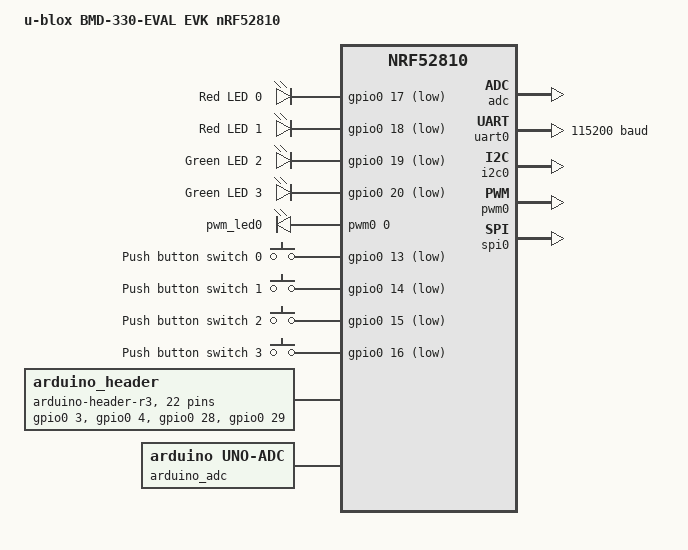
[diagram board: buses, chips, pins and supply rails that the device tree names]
/*
 * Copyright (c) 2021 u-blox AG
 *
 * SPDX-License-Identifier: Apache-2.0
 */

/dts-v1/;
#include <nordic/nrf52810_qfaa.dtsi>
#include "ubx_bmd330eval_nrf52810-pinctrl.dtsi"
#include <zephyr/dt-bindings/gpio/arduino-header-r3.h>
#include <zephyr/dt-bindings/input/input-event-codes.h>

/ {
	model = "u-blox BMD-330-EVAL EVK nRF52810";
	compatible = "u-blox,ubx-bmd330eval-nrf52810";

	chosen {
		zephyr,console = &uart0;
		zephyr,shell-uart = &uart0;
		zephyr,uart-mcumgr = &uart0;
		zephyr,bt-mon-uart = &uart0;
		zephyr,bt-c2h-uart = &uart0;
		zephyr,sram = &sram0;
		zephyr,flash = &flash0;
		zephyr,code-partition = &slot0_partition;
	};

	leds {
		compatible = "gpio-leds";

		led0: led_0 {
			gpios = <&gpio0 17 GPIO_ACTIVE_LOW>;
			label = "Red LED 0";
		};

		led1: led_1 {
			gpios = <&gpio0 18 GPIO_ACTIVE_LOW>;
			label = "Red LED 1";
		};

		led2: led_2 {
			gpios = <&gpio0 19 GPIO_ACTIVE_LOW>;
			label = "Green LED 2";
		};

		led3: led_3 {
			gpios = <&gpio0 20 GPIO_ACTIVE_LOW>;
			label = "Green LED 3";
		};
	};

	pwmleds {
		compatible = "pwm-leds";

		pwm_led0: pwm_led_0 {
			pwms = <&pwm0 0 PWM_MSEC(20) PWM_POLARITY_INVERTED>;
		};
	};

	buttons {
		compatible = "gpio-keys";

		button0: button_0 {
			gpios = <&gpio0 13 (GPIO_PULL_UP | GPIO_ACTIVE_LOW)>;
			label = "Push button switch 0";
			zephyr,code = <INPUT_KEY_0>;
		};

		button1: button_1 {
			gpios = <&gpio0 14 (GPIO_PULL_UP | GPIO_ACTIVE_LOW)>;
			label = "Push button switch 1";
			zephyr,code = <INPUT_KEY_1>;
		};

		button2: button_2 {
			gpios = <&gpio0 15 (GPIO_PULL_UP | GPIO_ACTIVE_LOW)>;
			label = "Push button switch 2";
			zephyr,code = <INPUT_KEY_2>;
		};

		button3: button_3 {
			gpios = <&gpio0 16 (GPIO_PULL_UP | GPIO_ACTIVE_LOW)>;
			label = "Push button switch 3";
			zephyr,code = <INPUT_KEY_3>;
		};
	};

	arduino_header: connector {
		compatible = "arduino-header-r3";
		#gpio-cells = <2>;
		gpio-map-mask = <0xffffffff 0xffffffc0>;
		gpio-map-pass-thru = <0 0x3f>;
		gpio-map = <ARDUINO_HEADER_R3_A0 0 &gpio0 3 0>,
			   <ARDUINO_HEADER_R3_A1 0 &gpio0 4 0>,
			   <ARDUINO_HEADER_R3_A2 0 &gpio0 28 0>,
			   <ARDUINO_HEADER_R3_A3 0 &gpio0 29 0>,
			   <ARDUINO_HEADER_R3_A4 0 &gpio0 30 0>,
			   <ARDUINO_HEADER_R3_A5 0 &gpio0 31 0>,
			   <ARDUINO_HEADER_R3_D0 0 &gpio0 11 0>,
			   <ARDUINO_HEADER_R3_D1 0 &gpio0 12 0>,
			   <ARDUINO_HEADER_R3_D2 0 &gpio0 13 0>,
			   <ARDUINO_HEADER_R3_D3 0 &gpio0 14 0>,
			   <ARDUINO_HEADER_R3_D4 0 &gpio0 15 0>,
			   <ARDUINO_HEADER_R3_D5 0 &gpio0 16 0>,
			   <ARDUINO_HEADER_R3_D6 0 &gpio0 17 0>,
			   <ARDUINO_HEADER_R3_D7 0 &gpio0 18 0>,
			   <ARDUINO_HEADER_R3_D8 0 &gpio0 19 0>,
			   <ARDUINO_HEADER_R3_D9 0 &gpio0 20 0>,
			   <ARDUINO_HEADER_R3_D10 0 &gpio0 22 0>,
			   <ARDUINO_HEADER_R3_D11 0 &gpio0 23 0>,
			   <ARDUINO_HEADER_R3_D12 0 &gpio0 24 0>,
			   <ARDUINO_HEADER_R3_D13 0 &gpio0 25 0>,
			   <ARDUINO_HEADER_R3_D14 0 &gpio0 26 0>,
			   <ARDUINO_HEADER_R3_D15 0 &gpio0 27 0>;
	};

	arduino_adc: analog-connector {
		compatible = "arduino,uno-adc";
		#io-channel-cells = <1>;
		io-channel-map = <0 &adc 1>,	/* A0 = P0.3 = AIN1 */
				 <1 &adc 2>,	/* A1 = P0.4 = AIN2 */
				 <2 &adc 4>,	/* A2 = P0.28 = AIN4 */
				 <3 &adc 5>,	/* A3 = P0.29 = AIN5 */
				 <4 &adc 6>,	/* A4 = P0.30 = AIN6 */
				 <5 &adc 7>;	/* A5 = P0.31 = AIN7 */
	};

	/* These aliases are provided for compatibility with samples */
	aliases {
		led0 = &led0;
		led1 = &led1;
		led2 = &led2;
		led3 = &led3;
		pwm-led0 = &pwm_led0;
		sw0 = &button0;
		sw1 = &button1;
		sw2 = &button2;
		sw3 = &button3;
		mcuboot-button0 = &button0;
		mcuboot-led0 = &led0;
		watchdog0 = &wdt0;
	};
};

&reg {
	regulator-initial-mode = <NRF5X_REG_MODE_DCDC>;
};

&adc {
	status = "okay";
};

&uicr {
	gpio-as-nreset;
};

&gpiote {
	status = "okay";
};

&gpio0 {
	status = "okay";
};

arduino_serial: &uart0 {
	compatible = "nordic,nrf-uarte";
	status = "okay";
	current-speed = <115200>;
	pinctrl-0 = <&uart0_default>;
	pinctrl-1 = <&uart0_sleep>;
	pinctrl-names = "default", "sleep";
};

arduino_i2c: &i2c0 {
	compatible = "nordic,nrf-twi";
	status = "okay";
	pinctrl-0 = <&i2c0_default>;
	pinctrl-1 = <&i2c0_sleep>;
	pinctrl-names = "default", "sleep";
};

&pwm0 {
	status = "okay";
	pinctrl-0 = <&pwm0_default>;
	pinctrl-1 = <&pwm0_sleep>;
	pinctrl-names = "default", "sleep";
};

arduino_spi: &spi0 {
	compatible = "nordic,nrf-spi";
	status = "okay";
	cs-gpios = <&arduino_header 16 GPIO_ACTIVE_LOW>; /* D10 */
	pinctrl-0 = <&spi0_default>;
	pinctrl-1 = <&spi0_sleep>;
	pinctrl-names = "default", "sleep";
};

&flash0 {
	partitions {
		compatible = "fixed-partitions";
		#address-cells = <1>;
		#size-cells = <1>;

		boot_partition: partition@0 {
			label = "mcuboot";
			reg = <0x00000000 0xc000>;
		};

		slot0_partition: partition@c000 {
			label = "image-0";
			reg = <0x0000C000 0xd000>;
		};

		slot1_partition: partition@19000 {
			label = "image-1";
			reg = <0x00019000 0xd000>;
		};

		scratch_partition: partition@26000 {
			label = "image-scratch";
			reg = <0x00026000 0x3000>;
		};

		storage_partition: partition@29000 {
			label = "storage";
			reg = <0x00029000 0x00007000>;
		};
	};
};
